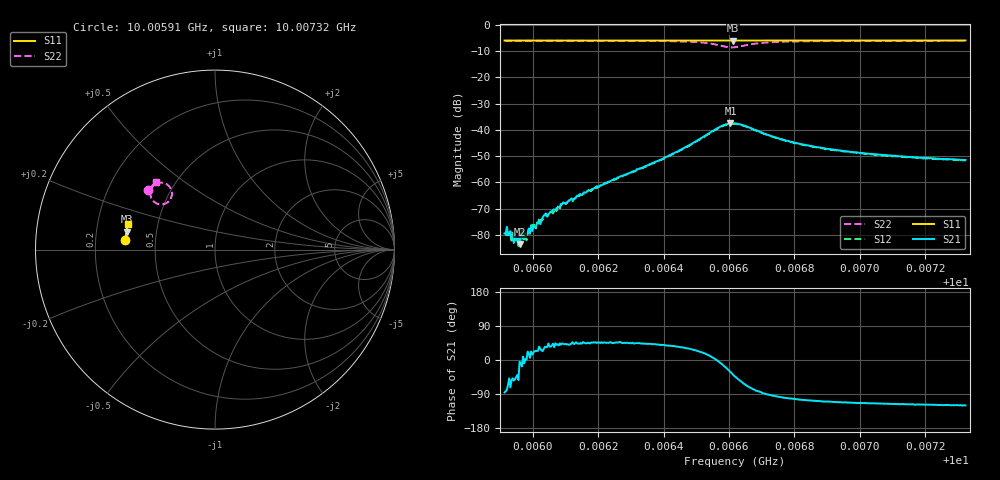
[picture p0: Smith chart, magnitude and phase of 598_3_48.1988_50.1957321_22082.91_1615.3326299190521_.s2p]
#  HZ  S  RI  R  50.00
! Rohde & Schwarz Vector Network Analyzer
! Rohde-Schwarz,ZNB20-2Port,1311601062101988,3.16
! Created: UTC 3/20/2024, 12:02:54 PM
! freq[Hz]  re:S11  im:S11  re:S21  im:S21  re:S12  im:S12  re:S22  im:S22
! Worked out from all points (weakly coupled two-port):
!   401 points, 10.00591 GHz to 10.00732 GHz, reference 50 ohm
!   highest |S21| = -37.51 dB at 10.0066 GHz (marker M1); lowest = -83.5 dB at 10.00596 GHz (marker M2)
!   lowest |S11| = -6.0 dB at 10.00661 GHz (marker M3), VSWR 3.02, Z = 16.7 + j4.47 ohm
!   |S11| at or under -10 dB: nowhere
!   |S22| runs from -8.6 to -6.0 dB; largest |S21 - S12| = 0.00093
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1.0005914e10  -0.4991 0.0556  8.07e-06 -0.000106  3.33e-05 -9.63e-05  -0.3724 0.3309
1.0005942e10  -0.4989 0.0573  4.21e-05 -5.86e-05  1.32e-05 -6.81e-05  -0.371 0.3326
1.000596e10  -0.4989 0.0586  6.63e-05 -5.6e-06  9.95e-05 -4.26e-05  -0.3699 0.3336
1.0005977e10  -0.4987 0.0598  0.000103 4.72e-06  0.000106 -1.71e-05  -0.3689 0.3349
1.0005988e10  -0.4986 0.0603  0.000126 3.68e-05  0.000113 4.06e-05  -0.3683 0.3355
1.0006006e10  -0.4986 0.0616  0.000131 5.62e-05  0.000127 7.28e-05  -0.3673 0.3366
1.0006034e10  -0.4983 0.0634  0.000203 0.000114  0.000157 0.000127  -0.3657 0.3386
1.0006044e10  -0.4982 0.0641  0.000183 0.000125  0.000178 0.000139  -0.365 0.3393
1.0006065e10  -0.4981 0.0655  0.000252 0.00017  0.000215 0.000177  -0.3637 0.3406
1.0006087e10  -0.4981 0.0668  0.000295 0.000251  0.000289 0.00025  -0.3622 0.3421
1.000615e10  -0.4975 0.071  0.000416 0.000391  0.000391 0.000415  -0.3578 0.3466
1.0006386e10  -0.4955 0.0864  0.00198 0.0017  0.00185 0.00178  -0.33 0.3666
1.0006527e10  -0.4936 0.0956  0.00736 0.00225  0.00709 0.00254  -0.2722 0.3658
1.0006576e10  -0.4926 0.0983  0.0116 -0.00194  0.0113 -0.00121  -0.2401 0.3205
1.0006604e10  -0.4922 0.0997  0.0114 -0.00694  0.0113 -0.00604  -0.2521 0.275
1.0006611e10  -0.492 0.0999  0.0106 -0.0081  0.0108 -0.00746  -0.261 0.2657
1.0006618e10  -0.4921 0.1002  0.0096 -0.00921  0.00988 -0.00835  -0.2713 0.2587
1.0006696e10  -0.4922 0.105  0.000861 -0.00895  0.00121 -0.00892  -0.3524 0.2818
1.0006773e10  -0.4915 0.1102  -0.00109 -0.00617  -0.000779 -0.00612  -0.3603 0.3168
1.0006854e10  -0.4906 0.1154  -0.00144 -0.00464  -0.00117 -0.00463  -0.3564 0.3359
1.000709e10  -0.4872 0.1305  -0.00142 -0.00293  -0.00125 -0.00294  -0.3412 0.3627
1.0007323e10  -0.4838 0.1451  -0.00133 -0.00231  -0.00119 -0.0023  -0.3278 0.3781
